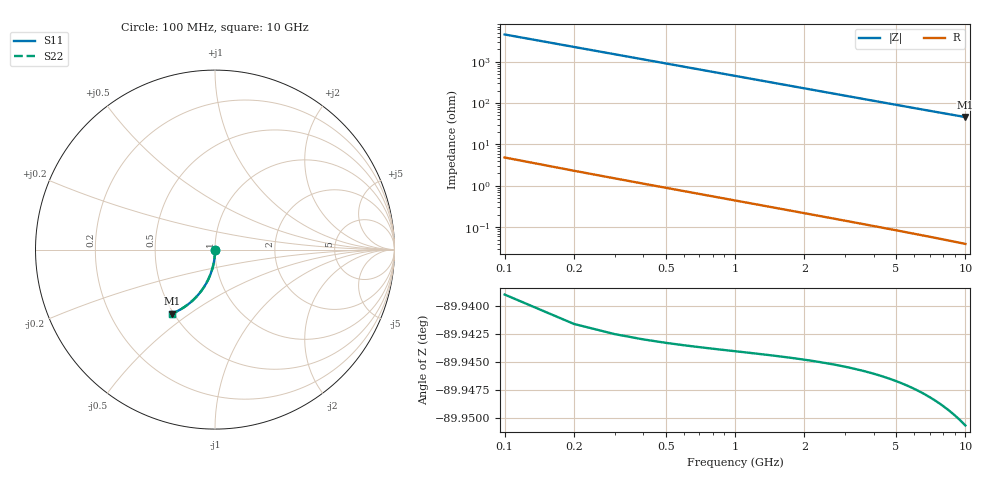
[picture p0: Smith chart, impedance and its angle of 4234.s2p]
# Hz S RI R 50.00
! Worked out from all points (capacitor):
!   100 points, 100 MHz to 10 GHz, reference 50 ohm
!   read as one part in shunt: C = 351 fF near 100 MHz
!   lowest |Z| = 45.8 ohm at 10 GHz (marker M1)
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1e8  0.000172 -0.0048  0.9998 -0.00623  0.9998 -0.00623  0.000172 -0.0048
2e8  7.79e-05 -0.00961  0.9997 -0.0125  0.9997 -0.0125  7.79e-05 -0.00961
3e8  -7.62e-05 -0.0144  0.9995 -0.0187  0.9995 -0.0187  -7.62e-05 -0.0144
4e8  -0.00029 -0.0192  0.9993 -0.0249  0.9993 -0.0249  -0.00029 -0.0192
5e8  -0.000564 -0.024  0.999 -0.0312  0.999 -0.0312  -0.000564 -0.024
6e8  -0.000898 -0.0288  0.9986 -0.0374  0.9986 -0.0374  -0.000898 -0.0288
7e8  -0.00129 -0.0336  0.9982 -0.0436  0.9982 -0.0436  -0.00129 -0.0336
8e8  -0.00175 -0.0384  0.9978 -0.0498  0.9978 -0.0498  -0.00175 -0.0384
9e8  -0.00226 -0.0431  0.9972 -0.056  0.9972 -0.056  -0.00226 -0.0431
1.1e9  -0.00346 -0.0527  0.996 -0.0684  0.996 -0.0684  -0.00346 -0.0527
1.4e9  -0.00571 -0.0669  0.9937 -0.0869  0.9937 -0.0869  -0.00571 -0.0669
1.8e9  -0.00953 -0.0857  0.9897 -0.1114  0.9897 -0.1114  -0.00953 -0.0857
2.1e9  -0.013 -0.0996  0.9861 -0.1297  0.9861 -0.1297  -0.013 -0.0996
2.5e9  -0.0184 -0.118  0.9805 -0.1538  0.9805 -0.1538  -0.0184 -0.118
2.9e9  -0.0247 -0.1359  0.974 -0.1775  0.974 -0.1775  -0.0247 -0.1359
3.4e9  -0.0338 -0.1579  0.9646 -0.2066  0.9646 -0.2066  -0.0338 -0.1579
4.2e9  -0.0509 -0.1914  0.9468 -0.2518  0.9468 -0.2518  -0.0509 -0.1914
5.1e9  -0.0736 -0.2265  0.9232 -0.3  0.9232 -0.3  -0.0736 -0.2265
5.9e9  -0.0966 -0.255  0.8993 -0.3402  0.8993 -0.3402  -0.0966 -0.255
6.7e9  -0.1216 -0.2808  0.8732 -0.3778  0.8732 -0.3778  -0.1216 -0.2808
8.4e9  -0.1802 -0.326  0.8118 -0.4483  0.8118 -0.4483  -0.1802 -0.326
1e10  -0.2392 -0.3562  0.7494 -0.5028  0.7494 -0.5028  -0.2392 -0.3562
